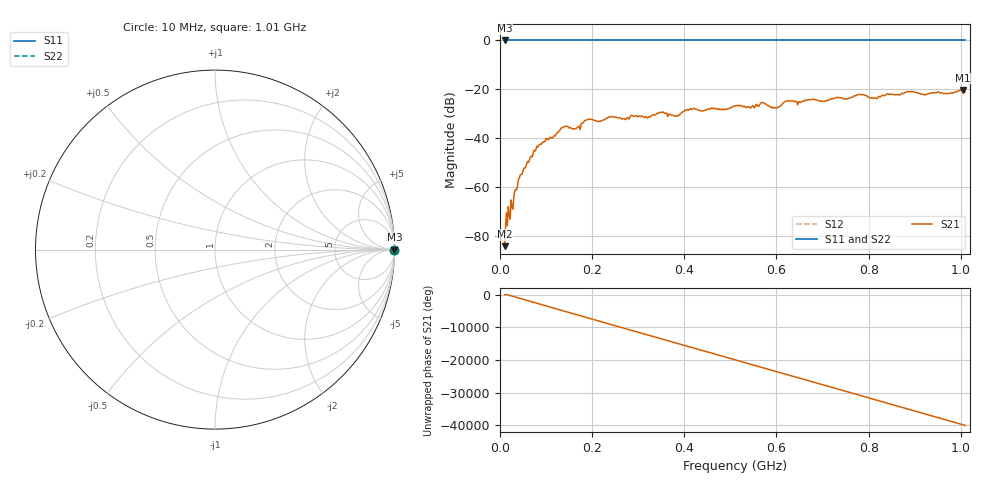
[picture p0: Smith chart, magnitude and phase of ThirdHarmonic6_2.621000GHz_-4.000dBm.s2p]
! 8/17/2025 5:47:53 AM
! C:\ANRITSUVNA\TEMP\TEMP.S2P
! CHANNEL.1
! TR.MEASUREMENT
! RAW.DATA
! RF.CORRECTION.OFF
! AVERAGING.OFF
! IF.BANDWIDTH: 5KHZ
! SWEEPTYPE:  FREQ.SWEEP(Linear)
! Reference Plane Port Info
! PORT:  PORT1  PORT2
! DISTANCE:  0  m  0  m
! TIME:  0  s  0  s
! PHASE.OFFSET:  0  deg.  0  deg.
! LOSS:  0  dB  0  dB
! REF.LOSS:  0  dB  0  dB
! REF.FREQ:  0  Hz  0  Hz
! Power Info
! POWER:  -20  dBm  -20  dBm
! EFF.POWER:  -20  dBm  -20  dBm
! SOURCE.ATTEN:  0  dB  0  dB
! TEST.ATTEN:  0  dB  0  dB
# GHZ S RI R 50.0
! FREQ.GHZ  S11RE  S11IM  S21RE  S21IM  S12RE  S12IM  S22RE  S22IM
!; PortSelection: Port_12
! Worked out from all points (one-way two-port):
!   501 points, 10 MHz to 1.01 GHz, reference 50 ohm
!   highest |S21| = -20.32 dB at 1.004 GHz (marker M1); lowest = -84.3 dB at 10 MHz (marker M2)
!   lowest |S11| = 0.0 dB at 10 MHz (marker M3)
!   |S11| at or under -10 dB: nowhere
!   |S22| runs from 0.0 to 0.0 dB; largest |S21 - S12| = 1.1
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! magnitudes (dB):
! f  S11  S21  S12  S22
! 10 MHz  0.0  -84.3  0.0  0.0
! 42 MHz  0.0  -56.4  0.0  0.0
! 76 MHz  0.0  -45.3  0.0  0.0
! 136 MHz  0.0  -35.8  0.0  0.0
! 162 MHz  0.0  -36.2  0.0  0.0
! 178 MHz  0.0  -33.9  0.0  0.0
! 194 MHz  0.0  -32.2  0.0  0.0
! 322 MHz  0.0  -31.5  0.0  0.0
! 344 MHz  0.0  -29.8  0.0  0.0
! 382 MHz  0.0  -30.9  0.0  0.0
! 410 MHz  0.0  -28.6  0.0  0.0
! 510 MHz  0.0  -26.8  0.0  0.0
! 548 MHz  0.0  -26.6  0.0  0.0
! 570 MHz  0.0  -25.5  0.0  0.0
! 596 MHz  0.0  -27.4  0.0  0.0
! 622 MHz  0.0  -24.8  0.0  0.0
! 678 MHz  0.0  -24.2  0.0  0.0
! 782 MHz  0.0  -22.1  0.0  0.0
! 814 MHz  0.0  -23.5  0.0  0.0
! 844 MHz  0.0  -22.0  0.0  0.0
! 1.004 GHz  0.0  -20.3  0.0  0.0
! 1.01 GHz  0.0  -21.0  0.0  0.0
